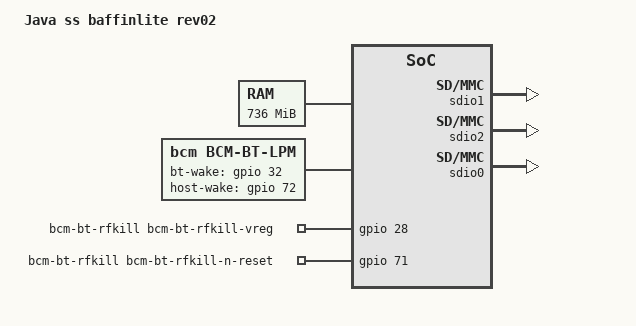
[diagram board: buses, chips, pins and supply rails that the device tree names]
/* Java_ss_baffinlite_rev02 Dts file */

/dts-v1/;

/include/ "java.dtsi"


/ {
	model = "Java ss baffinlite rev02";
	compatible = "bcm,java";

	chosen {
		bootargs = "console=ttyS2,115200n8 mem=738M gpt androidboot.console=ttyS2 crash_ramdump=1 logbuf_nocache=1";
	};

	memory@81E00000 {
		device_type = "memory";
		reg = <0x81E00000 0x2e000000>; /* 736 MB */
	};

	wd-tapper {
		count = <120>; /* Time in seconds */
		ch-num = <1>; /* Kona hub timer Channel number */
		timer-name = "aon-timer";
	};

	uart@3e000000 {
		clock-frequency = <48000000>;
		port-name = "bluetooth";
		clk-name = "uartb_clk";
	};

	uart@3e001000 {
		clock-frequency = <26000000>;
		port-name = "gps";
		clk-name = "uartb2_clk";
		/*If power-save-enable is set Change
		* PADCTRL_UBRTSN from UART3_RTSN to
		* UBRTSN (Debug UART) when GPS is inactive.*/
		power-save-enable = <1>;
	};

	uart@3e002000 {
		clock-frequency = <26000000>;
		port-name = "console";
		clk-name = "uartb3_clk";
	};

	i2c0: i2c@3e016000 {
		speed = <5>; /* BSC_BUS_SPEED_400 K */
		dynamic-speed = <1>;
		bsc-clk = "bsc1_clk";
		bsc-apb-clk = "bsc1_apb_clk";
		retries = <1>;
		is-pmu-i2c = <0>;
		fs-ref-frequency = <13000000>;
		hs-ref-frequency = <104000000>;
	};

	i2c1: i2c@3e017000 {
		speed = <5>; /* BSC_BUS_SPEED_400 K */
		dynamic-speed = <1>;
		bsc-clk = "bsc2_clk";
		bsc-apb-clk = "bsc2_apb_clk";
		retries = <3>;
		is-pmu-i2c = <0>;
		fs-ref-frequency = <13000000>;
		hs-ref-frequency = <104000000>;
	};

	i2c2: i2c@3e018000 {
		speed = <5>; /* BSC_BUS_SPEED_400 K */
		dynamic-speed = <1>;
		bsc-clk = "bsc3_clk";
		bsc-apb-clk = "bsc3_apb_clk";
		retries = <1>;
		is-pmu-i2c = <0>;
		fs-ref-frequency = <13000000>;
		hs-ref-frequency = <104000000>;
	};

	i2c3: i2c@3e01c000 {
		speed = <5>; /* BSC_BUS_SPEED_400 K */
		dynamic-speed = <1>;
		bsc-clk = "bsc4_clk";
		bsc-apb-clk = "bsc4_apb_clk";
		retries = <1>;
		is-pmu-i2c = <0>;
		fs-ref-frequency = <13000000>;
		hs-ref-frequency = <104000000>;
	};

	i2c4: i2c@3500d000 {
		speed = <7>; /* BSC_BUS_SPEED_HS */
		dynamic-speed = <0>;
		bsc-clk = "pmu_bsc_clk";
		bsc-apb-clk = "pmu_bsc_apb";
		retries = <5>;
		is-pmu-i2c = <1>;
		fs-ref-frequency = <13000000>;
		hs-ref-frequency = <26000000>;
	};

	bcm-bt-lpm {
		compatible = "bcm,bcm-bt-lpm";
		bt-wake-gpio = <&gpio 32 0>;
		host-wake-gpio = <&gpio 72 0>;
	};

	bcm-bt-rfkill {
		compatible = "bcm,bcm-bt-rfkill";
		bcm-bt-rfkill-vreg-gpio = <&gpio 28 0>;
		bcm-bt-rfkill-n-reset-gpio = <&gpio 71 0>;
	};

	iommu_mm: iommu-mm {
		compatible = "bcm,iommu-m4u";
		iova_begin  = <0x80000000>;
		iova_size   = <0x80000000>;
		errbuf_size = <0x00001000>;
		skip_enable = <1>;
	};

	iovmm_mm: iovmm-mm {
		compatible = "bcm,iovmm";
		base = <0x80000000>;
		size = <0x30000000>;
		order = <0>;
	};

	iovmm_mm_hwwr: iovmm-mm-hwwr {
		compatible = "bcm,iovmm";
		base = <0xb0000000>;
		size = <0x40000000>;
		order = <0>;
	};

	iovmm_mm_256mb: iovmm-mm-256mb {
		compatible = "bcm,iovmm";
		base = <0xf0000000>;
		size = <0x0ff00000>;
		order = <0>;
	};

	ion-config {
		compatible = "bcm,ion-config";
		/* Workaround: Use a separate iova pool for hwwr buffers */
		mask_hwwr = <0x4>;
		mask_256M = <0x221>;
	};

	ion-system {
		compatible = "bcm,ion";
		id = <0>;
		type = <0>;
		iommu = <&iommu_mm>;
		iovmm = <&iovmm_mm_256mb>;
	};

	ion-system-extra {
		compatible = "bcm,ion";
		id = <1>;
		type = <0>;
		iommu = <&iommu_mm>;
		iovmm = <&iovmm_mm>;
	};

	ion-system-hwwr {
		compatible = "bcm,ion";
		id = <2>;
		type = <0>;
		iommu = <&iommu_mm>;
		iovmm = <&iovmm_mm_hwwr>;
	};

	ion-carveout {
		compatible = "bcm,ion";
		id = <9>;
		type = <2>;
		base  = <0x90000000>;
		limit = <0xa0000000>;
		size  = <0x01000000>;
		lmk_enable = <0>;
		lmk_min_score_adj = <411>;
		lmk_min_free = <32>;
		iommu = <&iommu_mm>;
		iovmm = <&iovmm_mm_256mb>;
	};

	ion-cma {
		compatible = "bcm,ion";
		id = <5>;
		type = <4>;
		base  = <0x90000000>;
		limit = <0xa0000000>;
		size  = <0x00000000>;
		lmk_enable = <1>;
		lmk_min_score_adj = <411>;
		lmk_min_free = <32>;
		iommu = <&iommu_mm>;
		iovmm = <&iovmm_mm_256mb>;
	};

	soc-back-camera {
		compatible = "bcm,soc-camera";
		reg = <0x36 0x0>;
		bus-id = <0>;
		i2c-type = "ov5648";
		i2c-addr = <0x36>;
		i2c-adapter-id = <0>;
		module-name = "ov5648";
		if-type = <1>;
		if-mode = <3>;
		orientation = <1>;
		facing = <1>;
		lanes = <2>;
		channel = <0>;
		phy-rate = <0>;
		pix-clk = <0>;
		regulators = "lvldo1_uc", "mmc1_vcc", "mmc2_vcc", "lvldo2_uc";
	};

	soc-front-camera {
		compatible = "bcm,soc-camera";
		reg = <0x3e 0x0>;
		bus-id = <0>;
		i2c-type = "ov7692";	/* i2c_board_info type */
		i2c-addr = <0x3e>;	/* i2c_board_info addr */
		i2c-adapter-id = <0>;
		module-name = "ov7692";
		if-type = <1>;		/* V4L2_SUBDEV_SENSOR_SERIAL */
		if-mode = <3>;		/* V4L2_SUBDEV_SENSOR_MODE_SERIAL_CSI2 */
		orientation = <1>;	/* V4L2_SUBDEV_SENSOR_LANDSCAPE */
		facing = <0>;		/* V4L2_SUBDEV_SENSOR_FRONT */
		lanes = <1>;
		channel = <1>;
		phy-rate = <0>;
		pix-clk = <0>;
		regulators = "lvldo2_uc", "mmc1_vcc", "mmc2_vcc", "lvldo1_uc";
	};

	kona-fb {
		module-name = "HX8369";
		reg-name = "cam2";
		rst-gpio = <22>;
		rst-setup = <5>;	/* 700us */
		rst-pulse = <20>;	/* 1ms */
		rst-hold = <1300000>;	/* 100ms */
		col-mod-i = <2>;
		col-mod-o = <2>;
		width = <480>;
		height = <800>;
		/* rst-active-high */	/* Commented => Active Low */
		vmode;
		vburst;	/* Non-burst mode */
		/* te-ctrl; */		/* Tearing Effect Control disabled */
		fps = <60>;
		lanes = <2>;
		cmnd-LP;		/* Commands in LP mode*/
		hs-bitrate = <490000000>;
		lp-bitrate = <8000000>;	/* 8mbps */
		iommu = <&iommu_mm>;
		iovmm = <&iovmm_mm>;
		rotation = <0>;
	};


	tmon@0x34008000 {
		compatible = "bcm,tmon";
		reg = <0x34008000 0x1000>;
		interrupts = <0 183 4>;
		chipreg_addr = <0x35004000 0x1000>;
		thold_size = <8>; /*number of threshold levels*/
		poll_rate_ms = <30000>;
		hysteresis = <0>;
		flags = <5>;
		interval_ms = <8>;
		/*sw shdwn temp is 120*/
		thold = <55 1
			58 1
			63 1
			65 1
			70 1
			80 1
			115 4
			120 2>;
		tmon_apb_clk = "tmon_apb";
		tmon_1m_clk = "tmon_1m_clk";
		falling = <5>; /*fall back temperature offset*/
	};

	memc@35008000 {
		compatible = "bcm,memc";
		reg = <0x35008000 0x1000>;
		interrupts = <0 61 4>;
		flags = <0xF3>;
		chipreg_base = <0x35004000 0x1000>;
		memc0_aphy_base = <0x35008400 0x1000>;
		seq_busy_val = <2>;
		max_pwr = <3>;
		temp_period = <0xA09E6C>; /*400ms*/
		temp_tholds = <7 1>;
		num_thold = <1>;
		pll_freq = <0 0 0 0
				0x3D 0 1 0
				0x50 0 1 0>;
	};

	sdio1 {
		compatible = "bcm,sdhci";
		reg = <0x3F190000 10000>;
		interrupts = <0 76 0x04>;
		id = <1>;
		data-pullup = <0>;
		is-8bit = <1>;
		devtype = <2>;		/*SDIO_DEV_TYPE_EMMC*/
		flags = <3>;		/*NON_REMOVABLE | RPM_EN*/
		peri-clk-name = "sdio2_clk";
		ahb-clk-name = "sdio2_ahb_clk";
		sleep-clk-name = "sdio2_sleep_clk";
		peri-clk-rate = <52000000>;
	};

	sdio2 {
		compatible = "bcm,sdhci";
		reg = <0x3F1A0000 10000>;
		interrupts = <0 74 0x04>;
		id = <2>;
		data-pullup = <0>;
		devtype = <1>;		/*SDIO_DEV_TYPE_WIFI*/
		flags = <2>;		/*REMOVABLE | RPM_EN*/
		peri-clk-name = "sdio3_clk";
		ahb-clk-name = "sdio3_ahb_clk";
		sleep-clk-name = "sdio3_sleep_clk";
		peri-clk-rate = <48000000>;
	};

	sdio0 {
		compatible = "bcm,sdhci";
		reg = <0x3F180000 10000>;
		interrupts = <0 77 0x04>;
		id = <0>;
		data-pullup = <0>;
		cd-gpio = <91>;		/*SD_CARDDET_GPIO_PIN*/
		devtype = <0>;		/*SDIO_DEV_TYPE_SDMMC*/
		flags = <2>;		/*REMOVABLE | RPM_EN*/
		peri-clk-name = "sdio1_clk";
		ahb-clk-name = "sdio1_ahb_clk";
		sleep-clk-name = "sdio1_sleep_clk";
		peri-clk-rate = <48000000>;
		vddo-regulator-name = "vdd_sdio";
		vddsdxc-regulator-name = "vdd_sdxc";
	};

	timer {
		compatible = "arm,armv7-timer";
		interrupts = <1 13 0xf08>,
					<1 14 0xf08>;
	};

	wifi-driver {
		compatible = "bcm,bcm_wifi";
		wl-reset-gpio = <3>;
		host-wake-gpio = <74>;
		board-nvram-file = "/system/vendor/firmware/fw_wifi_nvram_4330.txt";
		module-name = "bcmdhd_4330";
	};

	keypad {
		row-num = <1>;
		col-num = <4>;
		row-col-count = <8>;
		key-name = "unused", "Vol Down Key", "unused", "Vol Up Key",
			"unused", "unused", "unused", "unused", "unused",
			"unused", "unused", "unused", "unused", "unused",
			"unused", "unused", "unused", "unused", "unused",
			"unused", "unused", "unused", "unused", "unused",
			"unused", "unused", "unused", "unused", "unused",
			"unused", "unused", "unused", "unused", "unused",
			"unused", "unused", "unused", "unused", "unused",
			"unused", "unused", "unused", "unused", "unused",
			"unused", "unused", "unused", "unused", "unused",
			"unused", "unused", "unused", "unused", "unused",
			"unused", "unused", "unused", "unused", "unused",
			"unused", "unused", "unused", "unused", "unused";
		key-code = <0 114 0 115 0 0 0 0
			0 0 0 0 0 0 0 0
			0 0 0 0 0 0 0 0
			0 0 0 0 0 0 0 0
			0 0 0 0 0 0 0 0
			0 0 0 0 0 0 0 0
			0 0 0 0 0 0 0 0
			0 0 0 0 0 0 0 0>;
	};



	secure_mem {
		sec-mem-base = <0x9d800000>;
		sec-mem-size = <0x100000>;
	};

};
